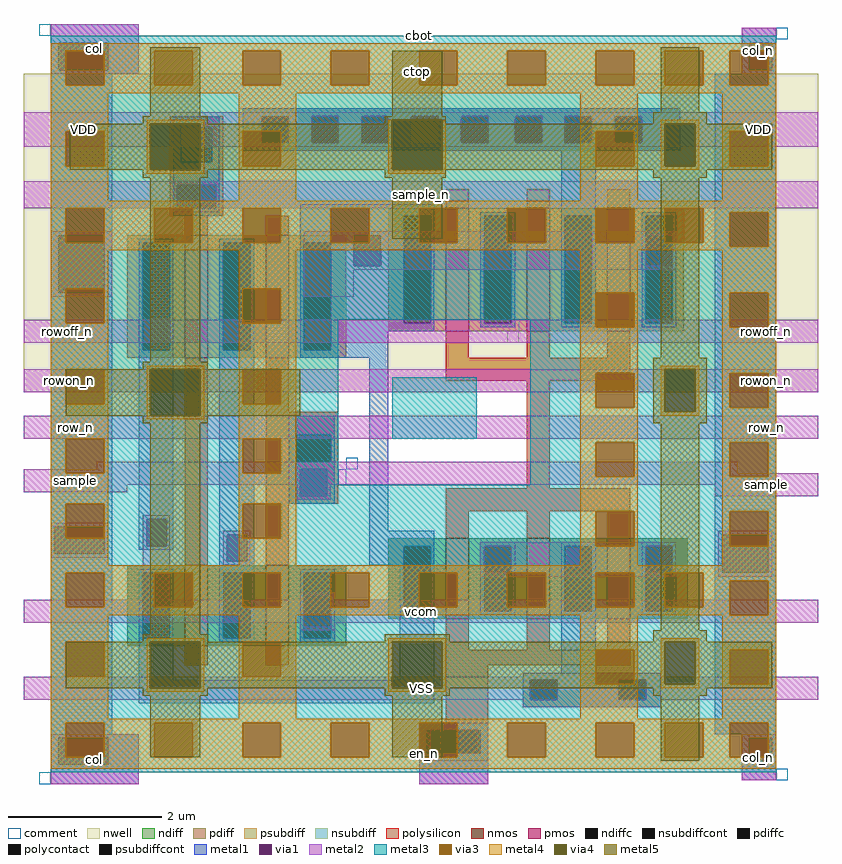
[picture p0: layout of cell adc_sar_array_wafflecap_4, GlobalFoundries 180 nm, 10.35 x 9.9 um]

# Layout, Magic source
magic
tech gf180mcuD
magscale 1 5
<< nwell >>
rect -1185 430 -150 845
<< nmos >>
rect -975 100 -945 205
rect -870 100 -840 205
rect -635 135 -605 240
rect -530 135 -500 240
rect -425 135 -395 240
<< pmos >>
rect -975 475 -945 635
rect -870 475 -840 635
rect -635 510 -605 670
rect -530 510 -500 670
rect -425 510 -395 670
<< ndiff >>
rect -710 230 -635 240
rect -1050 195 -975 205
rect -1050 110 -1030 195
rect -995 110 -975 195
rect -1050 100 -975 110
rect -945 195 -870 205
rect -945 110 -925 195
rect -890 110 -870 195
rect -945 100 -870 110
rect -840 195 -765 205
rect -840 110 -820 195
rect -785 110 -765 195
rect -710 145 -690 230
rect -655 145 -635 230
rect -710 135 -635 145
rect -605 230 -530 240
rect -605 145 -585 230
rect -550 145 -530 230
rect -605 135 -530 145
rect -500 230 -425 240
rect -500 145 -480 230
rect -445 145 -425 230
rect -500 135 -425 145
rect -395 230 -320 240
rect -395 145 -375 230
rect -340 145 -320 230
rect -395 135 -320 145
rect -840 100 -765 110
<< pdiff >>
rect -710 660 -635 670
rect -1050 625 -975 635
rect -1050 485 -1030 625
rect -995 485 -975 625
rect -1050 475 -975 485
rect -945 625 -870 635
rect -945 485 -925 625
rect -890 485 -870 625
rect -945 475 -870 485
rect -840 625 -765 635
rect -840 485 -820 625
rect -785 485 -765 625
rect -710 520 -690 660
rect -655 520 -635 660
rect -710 510 -635 520
rect -605 660 -530 670
rect -605 520 -585 660
rect -550 520 -530 660
rect -605 510 -530 520
rect -500 660 -425 670
rect -500 520 -480 660
rect -445 520 -425 660
rect -500 510 -425 520
rect -395 660 -325 670
rect -395 520 -375 660
rect -340 520 -325 660
rect -395 510 -325 520
rect -840 475 -765 485
<< ndiffc >>
rect -1030 110 -995 195
rect -925 110 -890 195
rect -820 110 -785 195
rect -690 145 -655 230
rect -585 145 -550 230
rect -480 145 -445 230
rect -375 145 -340 230
<< pdiffc >>
rect -1030 485 -995 625
rect -925 485 -890 625
rect -820 485 -785 625
rect -690 520 -655 660
rect -585 520 -550 660
rect -480 520 -445 660
rect -375 520 -340 660
<< psubdiff >>
rect -535 55 -355 65
rect -535 30 -525 55
rect -490 30 -410 55
rect -375 30 -355 55
rect -535 20 -355 30
<< nsubdiff >>
rect -900 790 -330 800
rect -900 755 -875 790
rect -840 755 -810 790
rect -775 755 -745 790
rect -710 755 -680 790
rect -645 755 -615 790
rect -580 755 -545 790
rect -510 755 -480 790
rect -445 755 -415 790
rect -380 755 -330 790
rect -900 745 -330 755
<< psubdiffcont >>
rect -525 30 -490 55
rect -410 30 -375 55
<< nsubdiffcont >>
rect -875 755 -840 790
rect -810 755 -775 790
rect -745 755 -710 790
rect -680 755 -645 790
rect -615 755 -580 790
rect -545 755 -510 790
rect -480 755 -445 790
rect -415 755 -380 790
<< polysilicon >>
rect -995 775 -925 790
rect -995 730 -980 775
rect -940 730 -925 775
rect -995 660 -925 730
rect -635 670 -605 695
rect -530 670 -500 695
rect -425 670 -395 695
rect -975 635 -945 660
rect -870 635 -840 660
rect -635 475 -605 510
rect -530 475 -500 510
rect -425 475 -395 510
rect -975 205 -945 475
rect -870 405 -840 475
rect -635 445 -395 475
rect -870 375 -775 405
rect -870 340 -830 375
rect -785 340 -775 375
rect -870 285 -775 340
rect -530 305 -500 445
rect -870 205 -840 285
rect -635 275 -395 305
rect -635 240 -605 275
rect -530 240 -500 275
rect -425 240 -395 275
rect -975 75 -945 100
rect -870 75 -840 100
rect -635 95 -605 135
rect -530 95 -500 135
rect -425 95 -395 135
rect -635 75 -395 95
rect -635 0 -580 75
rect -670 -10 -580 0
rect -670 -40 -660 -10
rect -590 -40 -580 -10
rect -670 -50 -580 -40
<< polycontact >>
rect -980 730 -940 775
rect -830 340 -785 375
rect -660 -40 -590 -10
<< metal1 >>
rect -1150 885 -1035 910
rect -1150 850 -1140 885
rect -1075 850 -1035 885
rect -1150 845 -1035 850
rect -250 885 -205 905
rect -250 850 -240 885
rect -210 850 -205 885
rect -250 845 -205 850
rect -1150 635 -1070 845
rect -900 790 -330 800
rect -990 775 -930 790
rect -990 730 -980 775
rect -940 730 -930 775
rect -900 755 -875 790
rect -840 755 -810 790
rect -775 755 -745 790
rect -710 755 -680 790
rect -645 755 -615 790
rect -580 755 -545 790
rect -510 755 -480 790
rect -445 755 -415 790
rect -380 755 -330 790
rect -900 745 -330 755
rect -990 700 -930 730
rect -990 670 -985 700
rect -935 670 -930 700
rect -990 660 -930 670
rect -825 660 -650 675
rect -1150 560 -1140 635
rect -1080 560 -1070 635
rect -825 635 -690 660
rect -1150 255 -1070 560
rect -1150 220 -1145 255
rect -1080 220 -1070 255
rect -1035 625 -990 630
rect -1035 485 -1030 625
rect -995 485 -990 625
rect -1035 265 -990 485
rect -1035 230 -1025 265
rect -999 230 -990 265
rect -1035 225 -990 230
rect -930 625 -885 630
rect -930 485 -925 625
rect -890 485 -885 625
rect -930 245 -885 485
rect -825 625 -755 635
rect -825 485 -820 625
rect -785 595 -755 625
rect -720 595 -690 635
rect -785 520 -690 595
rect -655 520 -650 660
rect -785 510 -650 520
rect -590 660 -545 665
rect -590 520 -585 660
rect -550 520 -545 660
rect -590 515 -545 520
rect -485 660 -440 745
rect -485 520 -480 660
rect -445 520 -440 660
rect -485 515 -440 520
rect -380 660 -335 665
rect -380 520 -375 660
rect -340 520 -335 660
rect -380 515 -335 520
rect -785 485 -710 510
rect -825 475 -710 485
rect -840 375 -780 400
rect -840 340 -830 375
rect -785 340 -780 375
rect -840 330 -780 340
rect -840 295 -825 330
rect -790 295 -780 330
rect -840 285 -780 295
rect -1150 -15 -1070 220
rect -930 210 -920 245
rect -894 210 -885 245
rect -1035 195 -990 200
rect -1035 110 -1030 195
rect -995 110 -990 195
rect -1035 55 -990 110
rect -930 195 -885 210
rect -735 250 -710 475
rect -735 230 -650 250
rect -285 245 -205 845
rect -735 205 -690 230
rect -930 110 -925 195
rect -890 110 -885 195
rect -930 105 -885 110
rect -825 195 -780 200
rect -825 110 -820 195
rect -785 110 -780 195
rect -825 105 -780 110
rect -695 145 -690 205
rect -655 145 -650 230
rect -695 55 -650 145
rect -590 230 -545 235
rect -590 145 -585 230
rect -550 145 -545 230
rect -590 140 -545 145
rect -485 230 -440 235
rect -485 145 -480 230
rect -445 145 -440 230
rect -485 65 -440 145
rect -380 230 -335 235
rect -380 145 -375 230
rect -340 145 -335 230
rect -380 140 -335 145
rect -285 195 -275 245
rect -215 195 -205 245
rect -1035 25 -650 55
rect -535 56 -355 65
rect -535 30 -525 56
rect -490 30 -410 56
rect -375 30 -355 56
rect -535 20 -355 30
rect -670 -10 -580 0
rect -1150 -20 -1035 -15
rect -1150 -55 -1140 -20
rect -1075 -55 -1035 -20
rect -1150 -80 -1035 -55
rect -670 -40 -660 -10
rect -590 -40 -580 -10
rect -285 -15 -205 195
rect -670 -80 -580 -40
rect -250 -20 -205 -15
rect -250 -50 -240 -20
rect -210 -50 -205 -20
rect -250 -75 -205 -50
<< via1 >>
rect -1140 850 -1075 885
rect -240 850 -210 885
rect -875 755 -840 790
rect -810 755 -775 790
rect -745 755 -710 790
rect -680 755 -645 790
rect -615 755 -580 790
rect -545 755 -510 790
rect -480 755 -445 790
rect -415 755 -380 790
rect -985 670 -935 700
rect -1140 560 -1080 635
rect -1145 220 -1080 255
rect -1025 230 -999 265
rect -755 595 -720 635
rect -375 595 -340 635
rect -825 295 -790 330
rect -920 210 -894 245
rect -820 125 -785 165
rect -585 195 -550 230
rect -375 195 -340 230
rect -275 195 -215 245
rect -525 55 -490 56
rect -525 30 -490 55
rect -410 55 -375 56
rect -410 30 -375 55
rect -1140 -55 -1075 -20
rect -655 -40 -595 -10
rect -240 -50 -210 -20
<< metal2 >>
rect -1150 885 -1035 910
rect -1150 850 -1140 885
rect -1075 850 -1035 885
rect -1150 845 -1035 850
rect -250 885 -205 905
rect -250 850 -240 885
rect -210 850 -205 885
rect -250 845 -205 850
rect -1185 790 -150 795
rect -1185 755 -875 790
rect -840 755 -810 790
rect -775 755 -745 790
rect -710 755 -680 790
rect -645 755 -615 790
rect -580 755 -545 790
rect -510 755 -480 790
rect -445 755 -415 790
rect -380 755 -150 790
rect -1185 750 -150 755
rect -1185 700 -150 705
rect -1185 670 -985 700
rect -935 670 -150 700
rect -990 665 -930 670
rect -1150 635 -1070 640
rect -1150 560 -1140 635
rect -1080 560 -1070 635
rect -1150 555 -1070 560
rect -820 635 -335 640
rect -820 595 -755 635
rect -720 595 -375 635
rect -340 595 -335 635
rect -820 590 -335 595
rect -820 555 -755 590
rect -1185 495 -150 525
rect -1185 430 -150 460
rect -1185 370 -150 400
rect -1090 330 -255 340
rect -1185 310 -825 330
rect -1185 300 -1050 310
rect -830 295 -825 310
rect -790 325 -255 330
rect -790 310 -150 325
rect -790 295 -785 310
rect -285 295 -150 310
rect -830 290 -785 295
rect -1030 265 -995 270
rect -1150 255 -1075 260
rect -1150 220 -1145 255
rect -1080 220 -1075 255
rect -1150 215 -1075 220
rect -1030 230 -1025 265
rect -999 230 -995 265
rect -1030 160 -995 230
rect -925 245 -890 250
rect -925 210 -920 245
rect -894 210 -890 245
rect -280 245 -210 250
rect -925 205 -890 210
rect -590 230 -335 235
rect -590 195 -585 230
rect -550 195 -375 230
rect -340 195 -335 230
rect -590 190 -335 195
rect -280 195 -275 245
rect -215 195 -210 245
rect -280 190 -210 195
rect -825 165 -780 170
rect -825 160 -820 165
rect -1185 130 -820 160
rect -825 125 -820 130
rect -785 160 -780 165
rect -785 130 -150 160
rect -785 125 -780 130
rect -825 120 -780 125
rect -535 60 -355 65
rect -1185 56 -150 60
rect -1185 30 -525 56
rect -490 30 -410 56
rect -375 30 -150 56
rect -535 20 -355 30
rect -670 -10 -580 0
rect -1150 -20 -1035 -15
rect -1150 -55 -1140 -20
rect -1075 -55 -1035 -20
rect -1150 -80 -1035 -55
rect -670 -40 -655 -10
rect -595 -40 -580 -10
rect -670 -80 -580 -40
rect -250 -20 -205 -15
rect -250 -50 -240 -20
rect -210 -50 -205 -20
rect -250 -75 -205 -50
<< metal3 >>
rect -1150 875 -205 895
rect -1150 830 -1130 875
rect -1080 830 -1015 875
rect -965 830 -900 875
rect -850 830 -785 875
rect -735 830 -670 875
rect -620 830 -555 875
rect -505 830 -440 875
rect -390 830 -350 875
rect -300 830 -265 875
rect -215 830 -205 875
rect -1150 770 -205 830
rect -1150 725 -1130 770
rect -1080 725 -900 770
rect -850 725 -440 770
rect -390 725 -265 770
rect -215 725 -205 770
rect -1150 670 -205 725
rect -1150 625 -1130 670
rect -1080 625 -1015 670
rect -965 625 -900 670
rect -850 625 -785 670
rect -735 625 -670 670
rect -620 625 -555 670
rect -505 625 -440 670
rect -390 625 -350 670
rect -300 665 -205 670
rect -300 625 -265 665
rect -1150 620 -265 625
rect -215 620 -205 665
rect -1150 565 -205 620
rect -1150 520 -1130 565
rect -1080 520 -900 565
rect -850 560 -205 565
rect -850 525 -440 560
rect -850 520 -775 525
rect -1150 460 -775 520
rect -1150 415 -1130 460
rect -1080 415 -900 460
rect -850 415 -775 460
rect -525 515 -440 525
rect -390 515 -265 560
rect -215 515 -205 560
rect -525 455 -205 515
rect -1150 370 -775 415
rect -705 370 -595 450
rect -525 410 -440 455
rect -390 410 -265 455
rect -215 410 -205 455
rect -1150 325 -1130 370
rect -1080 325 -900 370
rect -850 325 -775 370
rect -1150 310 -775 325
rect -525 365 -205 410
rect -525 320 -440 365
rect -390 320 -265 365
rect -215 320 -205 365
rect -525 310 -205 320
rect -1150 285 -205 310
rect -1150 240 -1130 285
rect -1080 240 -900 285
rect -850 275 -205 285
rect -850 240 -440 275
rect -1150 230 -440 240
rect -390 230 -265 275
rect -215 230 -205 275
rect -1150 195 -205 230
rect -1150 150 -1130 195
rect -1080 150 -1015 195
rect -965 150 -900 195
rect -850 150 -785 195
rect -735 150 -670 195
rect -620 150 -555 195
rect -505 150 -440 195
rect -390 150 -350 195
rect -300 185 -205 195
rect -300 150 -265 185
rect -1150 140 -265 150
rect -215 140 -205 185
rect -1150 105 -205 140
rect -1150 60 -1130 105
rect -1080 60 -900 105
rect -850 95 -205 105
rect -850 60 -440 95
rect -1150 50 -440 60
rect -390 50 -265 95
rect -215 50 -205 95
rect -1150 0 -205 50
rect -1150 -45 -1130 0
rect -1080 -45 -1015 0
rect -965 -45 -900 0
rect -850 -45 -785 0
rect -735 -45 -670 0
rect -620 -45 -555 0
rect -505 -45 -440 0
rect -390 -45 -350 0
rect -300 -45 -265 0
rect -215 -45 -205 0
rect -1150 -65 -205 -45
<< via3 >>
rect -1130 830 -1080 875
rect -1015 830 -965 875
rect -900 830 -850 875
rect -785 830 -735 875
rect -670 830 -620 875
rect -555 830 -505 875
rect -440 830 -390 875
rect -350 830 -300 875
rect -265 830 -215 875
rect -1130 725 -1080 770
rect -900 725 -850 770
rect -440 725 -390 770
rect -265 725 -215 770
rect -1130 625 -1080 670
rect -1015 625 -965 670
rect -900 625 -850 670
rect -785 625 -735 670
rect -670 625 -620 670
rect -555 625 -505 670
rect -440 625 -390 670
rect -350 625 -300 670
rect -265 620 -215 665
rect -1130 520 -1080 565
rect -900 520 -850 565
rect -1130 415 -1080 460
rect -900 415 -850 460
rect -440 515 -390 560
rect -265 515 -215 560
rect -440 410 -390 455
rect -265 410 -215 455
rect -1130 325 -1080 370
rect -900 325 -850 370
rect -440 320 -390 365
rect -265 320 -215 365
rect -1130 240 -1080 285
rect -900 240 -850 285
rect -440 230 -390 275
rect -265 230 -215 275
rect -1130 150 -1080 195
rect -1015 150 -965 195
rect -900 150 -850 195
rect -785 150 -735 195
rect -670 150 -620 195
rect -555 150 -505 195
rect -440 150 -390 195
rect -350 150 -300 195
rect -265 140 -215 185
rect -1130 60 -1080 105
rect -900 60 -850 105
rect -440 50 -390 95
rect -265 50 -215 95
rect -1130 -45 -1080 0
rect -1015 -45 -965 0
rect -900 -45 -850 0
rect -785 -45 -735 0
rect -670 -45 -620 0
rect -555 -45 -505 0
rect -440 -45 -390 0
rect -350 -45 -300 0
rect -265 -45 -215 0
<< metal4 >>
rect -1150 875 -205 885
rect -1150 830 -1130 875
rect -1080 830 -1015 875
rect -965 830 -900 875
rect -850 830 -785 875
rect -735 830 -670 875
rect -620 830 -555 875
rect -505 830 -440 875
rect -390 830 -350 875
rect -300 830 -265 875
rect -215 830 -205 875
rect -1150 820 -205 830
rect -1150 770 -1075 820
rect -1150 725 -1130 770
rect -1080 725 -1075 770
rect -1150 680 -1075 725
rect -1025 780 -950 785
rect -1025 720 -1020 780
rect -955 720 -950 780
rect -1025 715 -950 720
rect -905 770 -830 820
rect -905 725 -900 770
rect -850 725 -830 770
rect -905 680 -830 725
rect -710 720 -705 785
rect -640 720 -635 785
rect -710 715 -635 720
rect -460 770 -385 820
rect -460 725 -440 770
rect -390 725 -385 770
rect -460 680 -385 725
rect -355 780 -305 785
rect -355 725 -350 780
rect -310 725 -305 780
rect -355 720 -305 725
rect -275 770 -205 820
rect -275 725 -265 770
rect -215 725 -205 770
rect -275 680 -205 725
rect -1150 670 -205 680
rect -1150 625 -1130 670
rect -1080 625 -1015 670
rect -965 625 -900 670
rect -850 625 -785 670
rect -735 625 -670 670
rect -620 625 -555 670
rect -505 625 -440 670
rect -390 625 -350 670
rect -300 665 -205 670
rect -300 625 -265 665
rect -1150 620 -265 625
rect -215 620 -205 665
rect -1150 615 -205 620
rect -1150 565 -1075 615
rect -1150 520 -1130 565
rect -1080 520 -1075 565
rect -1150 460 -1075 520
rect -905 565 -830 615
rect -905 520 -900 565
rect -850 520 -830 565
rect -1150 415 -1130 460
rect -1080 415 -1075 460
rect -1150 370 -1075 415
rect -1025 460 -950 465
rect -1025 400 -1020 460
rect -955 400 -950 460
rect -1025 395 -950 400
rect -905 460 -830 520
rect -905 415 -900 460
rect -850 415 -830 460
rect -1150 325 -1130 370
rect -1080 325 -1075 370
rect -1150 285 -1075 325
rect -1150 240 -1130 285
rect -1080 240 -1075 285
rect -1150 205 -1075 240
rect -905 370 -830 415
rect -905 325 -900 370
rect -850 325 -830 370
rect -905 285 -830 325
rect -905 240 -900 285
rect -850 240 -830 285
rect -905 205 -830 240
rect -460 560 -385 615
rect -460 515 -440 560
rect -390 515 -385 560
rect -460 455 -385 515
rect -275 560 -205 615
rect -275 515 -265 560
rect -215 515 -205 560
rect -460 410 -440 455
rect -390 410 -385 455
rect -460 365 -385 410
rect -355 460 -305 465
rect -355 405 -350 460
rect -310 405 -305 460
rect -355 400 -305 405
rect -275 455 -205 515
rect -275 410 -265 455
rect -215 410 -205 455
rect -460 320 -440 365
rect -390 320 -385 365
rect -460 275 -385 320
rect -460 230 -440 275
rect -390 230 -385 275
rect -460 205 -385 230
rect -275 365 -205 410
rect -275 320 -265 365
rect -215 320 -205 365
rect -275 275 -205 320
rect -275 230 -265 275
rect -215 230 -205 275
rect -275 205 -205 230
rect -1150 195 -205 205
rect -1150 150 -1130 195
rect -1080 150 -1015 195
rect -965 150 -900 195
rect -850 150 -785 195
rect -735 150 -670 195
rect -620 150 -555 195
rect -505 150 -440 195
rect -390 150 -350 195
rect -300 185 -205 195
rect -300 150 -265 185
rect -1150 140 -265 150
rect -215 140 -205 185
rect -1150 105 -1075 140
rect -1150 60 -1130 105
rect -1080 60 -1075 105
rect -1150 5 -1075 60
rect -1025 105 -950 110
rect -1025 45 -1020 105
rect -955 45 -950 105
rect -1025 40 -950 45
rect -905 105 -830 140
rect -905 60 -900 105
rect -850 60 -830 105
rect -905 5 -830 60
rect -710 105 -635 110
rect -710 45 -705 105
rect -640 45 -635 105
rect -710 40 -635 45
rect -460 95 -385 140
rect -460 50 -440 95
rect -390 50 -385 95
rect -460 5 -385 50
rect -355 105 -305 110
rect -355 50 -350 105
rect -310 50 -305 105
rect -355 45 -305 50
rect -275 95 -205 140
rect -275 50 -265 95
rect -215 50 -205 95
rect -275 5 -205 50
rect -1150 0 -205 5
rect -1150 -45 -1130 0
rect -1080 -45 -1015 0
rect -965 -45 -900 0
rect -850 -45 -785 0
rect -735 -45 -670 0
rect -620 -45 -555 0
rect -505 -45 -440 0
rect -390 -45 -350 0
rect -300 -45 -265 0
rect -215 -45 -205 0
rect -1150 -60 -205 -45
<< via4 >>
rect -1020 720 -955 780
rect -705 720 -640 785
rect -350 725 -310 780
rect -1020 400 -955 460
rect -350 405 -310 460
rect -1020 45 -955 105
rect -705 45 -640 105
rect -350 50 -310 105
<< metal5 >>
rect -1020 790 -955 880
rect -705 790 -640 875
rect -355 795 -305 880
rect -1030 780 -945 790
rect -715 785 -635 790
rect -715 780 -705 785
rect -1125 720 -1020 780
rect -955 720 -705 780
rect -640 780 -635 785
rect -365 780 -295 795
rect -640 725 -350 780
rect -310 725 -210 780
rect -640 720 -210 725
rect -1030 710 -945 720
rect -715 710 -635 720
rect -365 710 -295 720
rect -1020 470 -955 710
rect -705 630 -640 710
rect -355 475 -305 710
rect -1030 460 -945 470
rect -365 460 -295 475
rect -1130 400 -1020 460
rect -955 400 -825 460
rect -365 405 -350 460
rect -310 405 -295 460
rect -1030 390 -945 400
rect -365 390 -295 405
rect -1020 115 -955 390
rect -355 120 -305 390
rect -1030 105 -945 115
rect -715 105 -630 115
rect -365 105 -295 120
rect -1130 45 -1020 105
rect -955 45 -705 105
rect -640 50 -350 105
rect -310 50 -210 105
rect -640 45 -210 50
rect -1030 35 -945 45
rect -715 35 -630 45
rect -365 35 -295 45
rect -1020 -45 -955 35
rect -705 -45 -640 35
rect -355 -50 -305 35
<< comment >>
rect -1165 895 -1150 910
rect -205 890 -190 905
rect -540 510 -525 525
rect -555 495 -540 510
rect -765 330 -750 345
rect -775 310 -765 330
rect -1165 -80 -1150 -65
rect -205 -75 -190 -60
<< labels >>
flabel metal2 -1185 750 -1030 795 0 FreeSans 160 0 0 0 VDD
port 1 nsew
flabel metal2 -305 750 -150 795 0 FreeSans 160 0 0 0 VDD
port 2 nsew
flabel metal2 -1185 30 -150 60 0 FreeSans 160 0 0 0 VSS
port 3 nsew
flabel metal2 -1185 670 -150 705 0 FreeSans 160 0 0 0 sample_n
port 4 nsew
flabel metal2 -1185 495 -1070 525 0 FreeSans 160 0 0 0 rowoff_n
port 5 nsew
flabel metal2 -1185 430 -1065 460 0 FreeSans 160 0 0 0 rowon_n
port 7 nsew
flabel metal2 -1185 370 -1050 400 0 FreeSans 160 0 0 0 row_n
port 9 nsew
flabel metal2 -1185 130 -150 160 0 FreeSans 160 0 0 0 vcom
port 13 nsew
flabel metal1 -670 -80 -655 0 0 FreeSans 160 0 0 0 en_n
port 14 nsew
flabel metal1 -250 -75 -205 -15 0 FreeSans 160 0 0 0 col_n
port 15 nsew
flabel metal1 -250 845 -205 905 0 FreeSans 160 0 0 0 col_n
port 16 nsew
flabel metal2 -1150 845 -1035 910 0 FreeSans 160 0 0 0 col
port 17 nsew
flabel metal2 -1150 -80 -1035 -15 0 FreeSans 160 0 0 0 col
port 18 nsew
flabel metal2 -285 370 -150 400 0 FreeSans 160 0 0 0 row_n
port 10 nsew
flabel metal2 -285 430 -150 460 0 FreeSans 160 0 0 0 rowon_n
port 8 nsew
flabel metal2 -285 495 -150 525 0 FreeSans 160 0 0 0 rowoff_n
port 6 nsew
flabel metal5 -705 820 -640 875 0 FreeSans 160 0 0 0 ctop
port 21 nsew
flabel metal2 -1185 300 -1050 330 0 FreeSans 160 0 0 0 sample
port 20 nsew
flabel metal2 -285 295 -150 325 0 FreeSans 160 0 0 0 sample
port 19 nsew
flabel metal3 -670 895 -670 895 0 FreeSans 80 0 0 0 cbot
port 22 nsew
<< end >>
